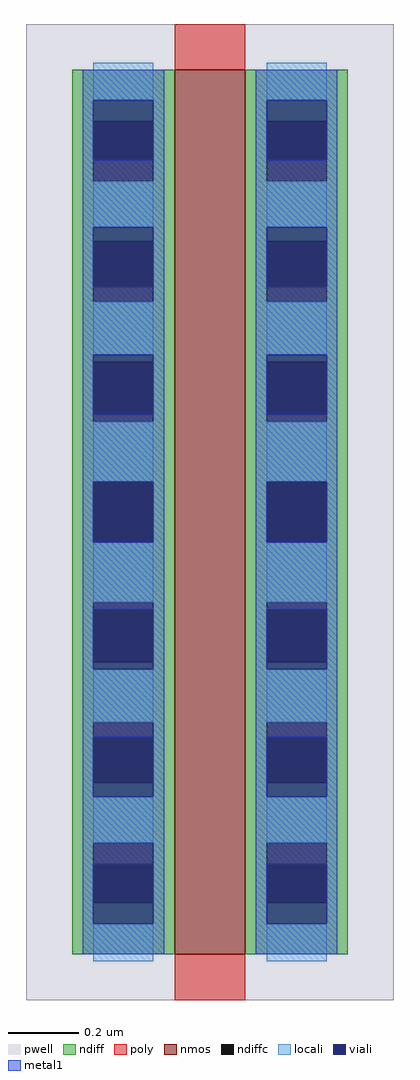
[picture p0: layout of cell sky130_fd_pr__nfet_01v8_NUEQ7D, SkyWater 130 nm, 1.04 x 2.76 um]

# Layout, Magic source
magic
tech sky130A
magscale 1 2
<< pwell >>
rect -104 -276 104 276
<< nmos >>
rect -20 -250 20 250
<< ndiff >>
rect -78 221 -20 250
rect -78 187 -66 221
rect -32 187 -20 221
rect -78 153 -20 187
rect -78 119 -66 153
rect -32 119 -20 153
rect -78 85 -20 119
rect -78 51 -66 85
rect -32 51 -20 85
rect -78 17 -20 51
rect -78 -17 -66 17
rect -32 -17 -20 17
rect -78 -51 -20 -17
rect -78 -85 -66 -51
rect -32 -85 -20 -51
rect -78 -119 -20 -85
rect -78 -153 -66 -119
rect -32 -153 -20 -119
rect -78 -187 -20 -153
rect -78 -221 -66 -187
rect -32 -221 -20 -187
rect -78 -250 -20 -221
rect 20 221 78 250
rect 20 187 32 221
rect 66 187 78 221
rect 20 153 78 187
rect 20 119 32 153
rect 66 119 78 153
rect 20 85 78 119
rect 20 51 32 85
rect 66 51 78 85
rect 20 17 78 51
rect 20 -17 32 17
rect 66 -17 78 17
rect 20 -51 78 -17
rect 20 -85 32 -51
rect 66 -85 78 -51
rect 20 -119 78 -85
rect 20 -153 32 -119
rect 66 -153 78 -119
rect 20 -187 78 -153
rect 20 -221 32 -187
rect 66 -221 78 -187
rect 20 -250 78 -221
<< ndiffc >>
rect -66 187 -32 221
rect -66 119 -32 153
rect -66 51 -32 85
rect -66 -17 -32 17
rect -66 -85 -32 -51
rect -66 -153 -32 -119
rect -66 -221 -32 -187
rect 32 187 66 221
rect 32 119 66 153
rect 32 51 66 85
rect 32 -17 66 17
rect 32 -85 66 -51
rect 32 -153 66 -119
rect 32 -221 66 -187
<< poly >>
rect -20 250 20 276
rect -20 -276 20 -250
<< locali >>
rect -66 233 -32 254
rect -66 161 -32 187
rect -66 89 -32 119
rect -66 17 -32 51
rect -66 -51 -32 -17
rect -66 -119 -32 -89
rect -66 -187 -32 -161
rect -66 -254 -32 -233
rect 32 233 66 254
rect 32 161 66 187
rect 32 89 66 119
rect 32 17 66 51
rect 32 -51 66 -17
rect 32 -119 66 -89
rect 32 -187 66 -161
rect 32 -254 66 -233
<< viali >>
rect -66 221 -32 233
rect -66 199 -32 221
rect -66 153 -32 161
rect -66 127 -32 153
rect -66 85 -32 89
rect -66 55 -32 85
rect -66 -17 -32 17
rect -66 -85 -32 -55
rect -66 -89 -32 -85
rect -66 -153 -32 -127
rect -66 -161 -32 -153
rect -66 -221 -32 -199
rect -66 -233 -32 -221
rect 32 221 66 233
rect 32 199 66 221
rect 32 153 66 161
rect 32 127 66 153
rect 32 85 66 89
rect 32 55 66 85
rect 32 -17 66 17
rect 32 -85 66 -55
rect 32 -89 66 -85
rect 32 -153 66 -127
rect 32 -161 66 -153
rect 32 -221 66 -199
rect 32 -233 66 -221
<< metal1 >>
rect -72 233 -26 250
rect -72 199 -66 233
rect -32 199 -26 233
rect -72 161 -26 199
rect -72 127 -66 161
rect -32 127 -26 161
rect -72 89 -26 127
rect -72 55 -66 89
rect -32 55 -26 89
rect -72 17 -26 55
rect -72 -17 -66 17
rect -32 -17 -26 17
rect -72 -55 -26 -17
rect -72 -89 -66 -55
rect -32 -89 -26 -55
rect -72 -127 -26 -89
rect -72 -161 -66 -127
rect -32 -161 -26 -127
rect -72 -199 -26 -161
rect -72 -233 -66 -199
rect -32 -233 -26 -199
rect -72 -250 -26 -233
rect 26 233 72 250
rect 26 199 32 233
rect 66 199 72 233
rect 26 161 72 199
rect 26 127 32 161
rect 66 127 72 161
rect 26 89 72 127
rect 26 55 32 89
rect 66 55 72 89
rect 26 17 72 55
rect 26 -17 32 17
rect 66 -17 72 17
rect 26 -55 72 -17
rect 26 -89 32 -55
rect 66 -89 72 -55
rect 26 -127 72 -89
rect 26 -161 32 -127
rect 66 -161 72 -127
rect 26 -199 72 -161
rect 26 -233 32 -199
rect 66 -233 72 -199
rect 26 -250 72 -233
<< end >>
